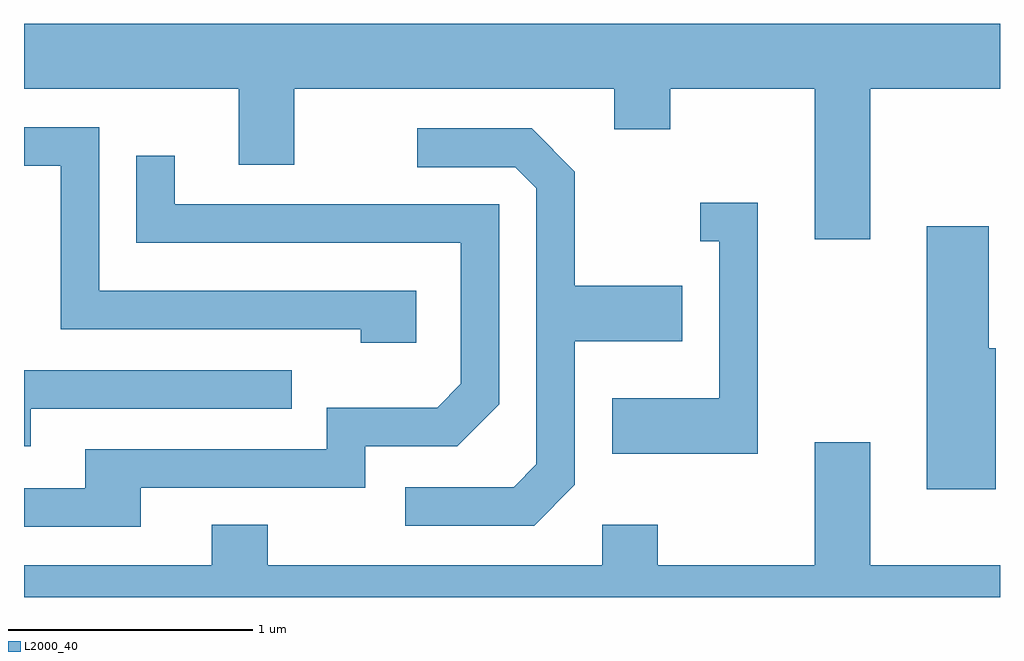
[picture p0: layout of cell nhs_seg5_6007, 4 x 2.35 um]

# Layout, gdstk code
import gdstk
lib = gdstk.Library(unit=1e-6, precision=1e-09)
def P(c, l, *ps):  # polygons
    for p in ps: c.add(gdstk.Polygon(p, *l))
L2000_40 = (2000, 40)

nhs_seg5_6007 = lib.new_cell('nhs_seg5_6007')
P(nhs_seg5_6007, L2000_40, [(367.079,1430.156),(367.611,1430.156),(367.611,1430.424),(363.611,1430.424),(363.611,1430.156),(364.491,1430.156),(364.491,1429.846),(364.719,1429.846),(364.719,1430.156),(366.031,1430.156),(366.031,1429.991),(366.259,1429.991),(366.259,1430.156),(366.851,1430.156),(366.851,1429.541),(367.079,1429.541)],
  [(365.219,1429.329),(363.919,1429.329),(363.919,1429.999),(363.611,1429.999),(363.611,1429.841),(363.761,1429.841),(363.761,1429.171),(364.991,1429.171),(364.991,1429.116),(365.219,1429.116)],
  [(365.869,1428.534),(365.869,1429.121),(366.309,1429.121),(366.309,1429.349),(365.869,1429.349),(365.869,1429.817),(365.692,1429.994),(365.223,1429.994),(365.223,1429.836),(365.624,1429.836),(365.711,1429.749),(365.711,1428.617),(365.619,1428.524),(365.173,1428.524),(365.173,1428.366),(365.702,1428.366)],
  [(364.089,1428.521),(365.009,1428.521),(365.009,1428.691),(365.387,1428.691),(365.559,1428.864),(365.559,1429.684),(364.229,1429.684),(364.229,1429.883),(364.071,1429.883),(364.071,1429.526),(365.401,1429.526),(365.401,1428.947),(365.304,1428.849),(364.851,1428.849),(364.851,1428.679),(363.861,1428.679),(363.861,1428.519),(363.611,1428.519),(363.611,1428.361),(364.089,1428.361)],
  [(366.619,1429.689),(366.383,1429.689),(366.383,1429.531),(366.461,1429.531),(366.461,1428.889),(366.021,1428.889),(366.021,1428.661),(366.619,1428.661)],
  [(367.594,1429.094),(367.564,1429.094),(367.564,1429.594),(367.311,1429.594),(367.311,1428.516),(367.594,1428.516)],
  [(363.639,1428.846),(364.708,1428.846),(364.708,1429.004),(363.611,1429.004),(363.611,1428.691),(363.639,1428.691)],
  [(367.611,1428.204),(367.079,1428.204),(367.079,1428.709),(366.851,1428.709),(366.851,1428.204),(366.209,1428.204),(366.209,1428.369),(365.981,1428.369),(365.981,1428.204),(364.609,1428.204),(364.609,1428.369),(364.381,1428.369),(364.381,1428.204),(363.611,1428.204),(363.611,1428.072),(367.611,1428.072)])

lib.write_gds('nhs_seg5_6007.gds')
